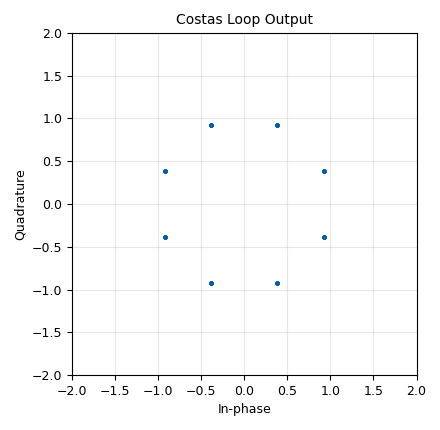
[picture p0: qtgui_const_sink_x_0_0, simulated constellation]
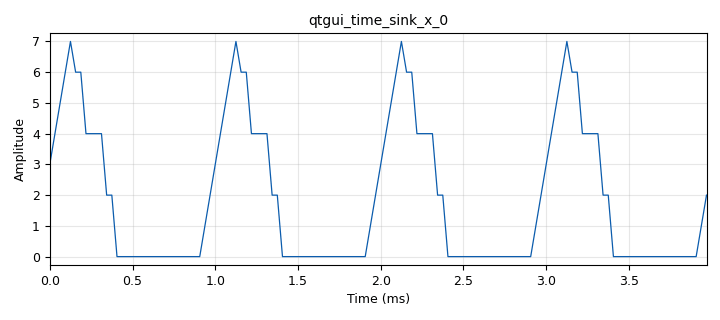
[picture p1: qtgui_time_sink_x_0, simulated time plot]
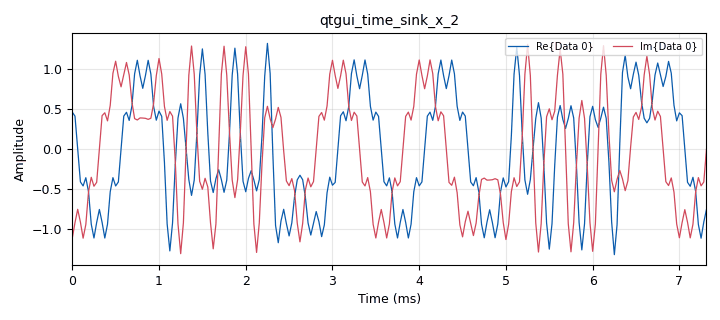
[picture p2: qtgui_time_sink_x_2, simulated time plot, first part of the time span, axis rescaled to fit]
options:
  parameters:
    author: Seth Kintigh
    generate_options: qt_gui
    id: d8psk_transmitter
    output_language: python
    title: d8psk workingexample
  states: {}

blocks:
- name: eq_gain
  id: variable_qtgui_range
  parameters:
    label: 'Equalizer: rate'
    orient: Qt.Horizontal
    start: '0.0'
    step: '0.001'
    stop: '0.1'
    value: '0.01 '
  states: {}
- name: eq_sps
  id: variable
  parameters:
    value: '2'
  states: {}
- name: excess_bw
  id: variable
  parameters:
    comment: 0.35 results in a smeared constellation, as does 0.70
    value: '1.05'
  states: {}
- name: nfilts
  id: variable
  parameters:
    value: '24'
  states: {}
- name: pcs_sps_in
  id: variable
  parameters:
    value: '4'
  states: {}
- name: pcs_sps_out
  id: variable
  parameters:
    value: eq_sps
  states: {}
- name: phase_bw
  id: variable_qtgui_range
  parameters:
    label: 'Phase: Bandwidth'
    orient: Qt.Horizontal
    start: '0.0'
    step: '0.01'
    stop: '1.0'
    value: 6.28/100.0
  states: {}
- name: rrc_taps
  id: variable
  parameters:
    value: firdes.root_raised_cosine(nfilts, nfilts, 1.0/float(pcs_sps_in), excess_bw, 11*pcs_sps_in*nfilts)
  states: {}
- name: samp_rate
  id: variable
  parameters:
    value: '32000'
  states: {}
- name: timing_loop_bw
  id: variable_qtgui_range
  parameters:
    label: 'Time: BW'
    orient: Qt.Horizontal
    start: '0.0'
    step: '0.01'
    stop: '0.2'
    value: '6.28/100.0 '
  states: {}
- name: variable_constellation_0
  id: variable_constellation
  parameters:
    const_points: '[0.383+0.924j, 0.924+0.383j, 0.924-0.383j, 0.383-0.924j, -0.383-0.924j, -0.924-0.383j, -0.924+0.383j, -0.383+0.924j]'
    dims: '1'
    precision: '8'
    rot_sym: '8'
    sym_map: '[1,0,7,6,5,4,3,2]'
    type: calcdist
  states: {}
- name: blocks_char_to_float_0
  id: blocks_char_to_float
  parameters:
    scale: '1'
  states: {}
- name: blocks_complex_to_float_0
  id: blocks_complex_to_float
  parameters: {}
  states: {state: disabled}
- name: blocks_pack_k_bits_bb_0
  id: blocks_pack_k_bits_bb
  parameters:
    k: '8'
  states: {}
- name: blocks_throttle_0_0
  id: blocks_throttle
  parameters:
    samples_per_second: samp_rate
    type: complex
  states: {}
- name: blocks_unpack_k_bits_bb_0
  id: blocks_unpack_k_bits_bb
  parameters:
    k: '3'
  states: {}
- name: blocks_vector_source_x_0
  id: blocks_vector_source_x
  parameters:
    repeat: 'True'
    type: byte
    vector: (0,1,2,3,4,5,6,7, 6,6, 4,4,4,4, 2,2, 0,0,0,0,0,0,0,0,  0,0,0,0,0,0,0,0)
  states: {}
- name: blocks_wavfile_sink_0
  id: blocks_wavfile_sink
  parameters:
    bits_per_sample: '16'
    file: /home/pentoo/defcon27_badge_sdr/trans_output.wav
    nchan: '2'
    samp_rate: '1200000'
  states: {state: disabled}
- name: digital_cma_equalizer_cc_0
  id: digital_cma_equalizer_cc
  parameters:
    modulus: '1'
    mu: eq_gain
    num_taps: '15'
    sps: eq_sps
  states: {}
- name: digital_constellation_decoder_cb_0
  id: digital_constellation_decoder_cb
  parameters:
    constellation: variable_constellation_0
  states: {}
- name: digital_constellation_modulator_0
  id: digital_constellation_modulator
  parameters:
    constellation: variable_constellation_0
    differential: 'True'
    excess_bw: excess_bw
    samples_per_symbol: '4'
  states: {}
- name: digital_costas_loop_cc_0
  id: digital_costas_loop_cc
  parameters:
    order: '8'
    w: phase_bw
  states: {}
- name: digital_diff_decoder_bb_0
  id: digital_diff_decoder_bb
  parameters:
    modulus: '8'
  states: {}
- name: digital_map_bb_0_0
  id: digital_map_bb
  parameters:
    map: '[1,0,7,6,5,4,3,2]'
  states: {}
- name: digital_pfb_clock_sync_xxx_0
  id: digital_pfb_clock_sync_xxx
  parameters:
    filter_size: nfilts
    init_phase: nfilts/2
    loop_bw: timing_loop_bw
    max_dev: '1.5'
    osps: pcs_sps_out
    sps: pcs_sps_in
    taps: rrc_taps
    type: ccf
  states: {}
- name: qtgui_const_sink_x_0_0
  id: qtgui_const_sink_x
  parameters:
    grid: 'True'
    name: '"Costas Loop Output"'
    size: '4096'
    type: complex
    update_time: '0.1'
  states: {}
- name: qtgui_sink_x_0_0
  id: qtgui_sink_x
  parameters:
    bw: samp_rate
    fc: '0'
    fftsize: '1024'
    type: complex
    wintype: firdes.WIN_BLACKMAN_hARRIS
  states: {state: disabled}
- name: qtgui_time_sink_x_0
  id: qtgui_time_sink_x
  parameters:
    size: '128'
    srate: samp_rate
    type: float
    ymax: '7'
    ymin: '0'
  states: {}
- name: qtgui_time_sink_x_2
  id: qtgui_time_sink_x
  parameters:
    size: '1024'
    srate: samp_rate
    type: complex
  states: {}

connections:
- [blocks_char_to_float_0, '0', qtgui_time_sink_x_0, '0']
- [blocks_complex_to_float_0, '0', blocks_wavfile_sink_0, '0']
- [blocks_complex_to_float_0, '1', blocks_wavfile_sink_0, '1']
- [blocks_pack_k_bits_bb_0, '0', digital_constellation_modulator_0, '0']
- [blocks_throttle_0_0, '0', digital_pfb_clock_sync_xxx_0, '0']
- [blocks_unpack_k_bits_bb_0, '0', blocks_pack_k_bits_bb_0, '0']
- [blocks_vector_source_x_0, '0', blocks_unpack_k_bits_bb_0, '0']
- [digital_cma_equalizer_cc_0, '0', digital_costas_loop_cc_0, '0']
- [digital_constellation_decoder_cb_0, '0', digital_diff_decoder_bb_0, '0']
- [digital_constellation_modulator_0, '0', blocks_complex_to_float_0, '0']
- [digital_constellation_modulator_0, '0', blocks_throttle_0_0, '0']
- [digital_constellation_modulator_0, '0', qtgui_time_sink_x_2, '0']
- [digital_costas_loop_cc_0, '0', digital_constellation_decoder_cb_0, '0']
- [digital_costas_loop_cc_0, '0', qtgui_const_sink_x_0_0, '0']
- [digital_costas_loop_cc_0, '0', qtgui_sink_x_0_0, '0']
- [digital_diff_decoder_bb_0, '0', digital_map_bb_0_0, '0']
- [digital_map_bb_0_0, '0', blocks_char_to_float_0, '0']
- [digital_pfb_clock_sync_xxx_0, '0', digital_cma_equalizer_cc_0, '0']

metadata:
  file_format: 1
